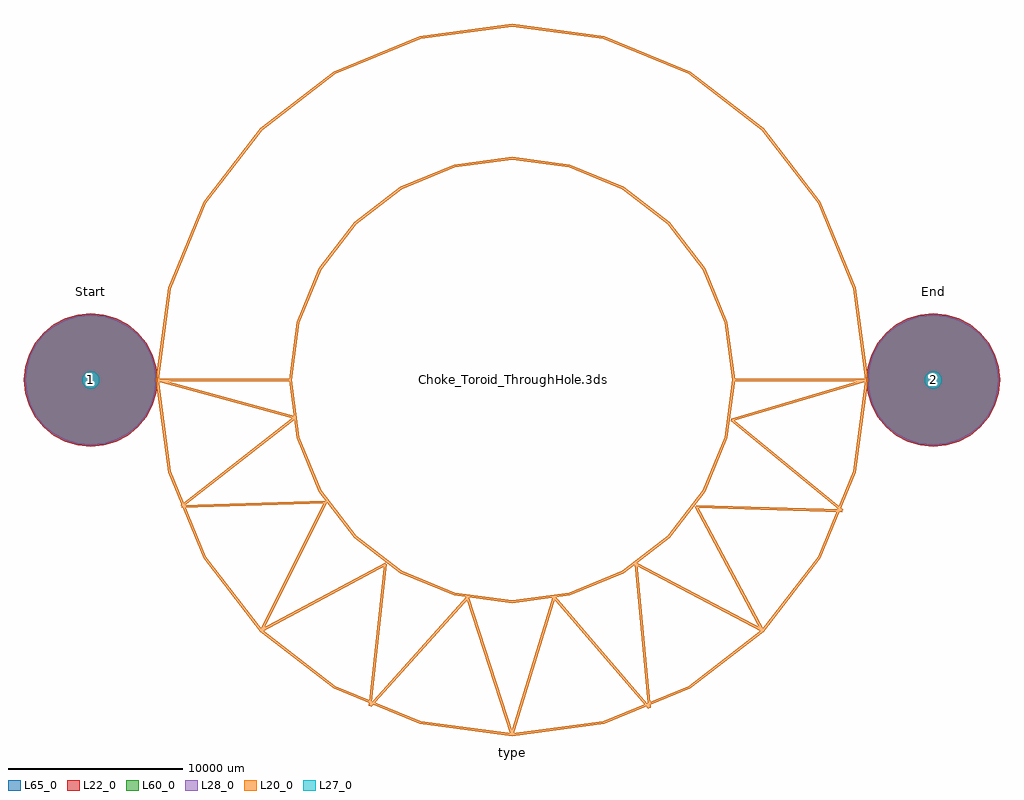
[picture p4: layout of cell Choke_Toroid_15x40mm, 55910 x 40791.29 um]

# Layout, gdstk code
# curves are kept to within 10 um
import gdstk
lib = gdstk.Library(unit=1e-6, precision=1e-09)
def P(c, l, *ps):  # polygons
    for p in ps: c.add(gdstk.Polygon(p, *l))
L20_0 = (20, 0)
L22_0 = (22, 0)
L27_0 = (27, 0)
L28_0 = (28, 0)
L60_0 = (60, 0)
L65_0 = (65, 0)

choke_toroid_15x40mm = lib.new_cell('Choke_Toroid_15x40mm')
P(choke_toroid_15x40mm, L22_0, [(27955,0),(27881.504,746.22),(27663.839,1463.764),(27310.371,2125.056),(26834.683,2704.683),(26255.056,3180.371),(25593.764,3533.839),(24876.22,3751.504),(24130,3825),(23383.78,3751.504),(22666.236,3533.839),(22004.944,3180.371),(21425.317,2704.683),(20949.629,2125.056),(20596.161,1463.764),(20378.496,746.22),(20305,0),(20378.496,-746.22),(20596.161,-1463.764),(20949.629,-2125.056),(21425.317,-2704.683),(22004.944,-3180.371),(22666.236,-3533.839),(23383.78,-3751.504),(24130,-3825),(24876.22,-3751.504),(25593.764,-3533.839),(26255.056,-3180.371),(26834.683,-2704.683),(27310.371,-2125.056),(27663.839,-1463.764),(27881.504,-746.22)],
  [(-20305,0),(-20378.496,746.22),(-20596.161,1463.764),(-20949.629,2125.056),(-21425.317,2704.683),(-22004.944,3180.371),(-22666.236,3533.839),(-23383.78,3751.504),(-24130,3825),(-24876.22,3751.504),(-25593.764,3533.839),(-26255.056,3180.371),(-26834.683,2704.683),(-27310.371,2125.056),(-27663.839,1463.764),(-27881.504,746.22),(-27955,0),(-27881.504,-746.22),(-27663.839,-1463.764),(-27310.371,-2125.056),(-26834.683,-2704.683),(-26255.056,-3180.371),(-25593.764,-3533.839),(-24876.22,-3751.504),(-24130,-3825),(-23383.78,-3751.504),(-22666.236,-3533.839),(-22004.944,-3180.371),(-21425.317,-2704.683),(-20949.629,-2125.056),(-20596.161,-1463.764),(-20378.496,-746.22)])
P(choke_toroid_15x40mm, L27_0, [(24629.999,0),(24591.939,191.341),(24483.553,353.553),(24321.341,461.939),(24130,499.999),(23938.659,461.939),(23776.447,353.553),(23668.061,191.341),(23630.001,0),(23668.061,-191.341),(23776.447,-353.553),(23938.659,-461.939),(24130,-499.999),(24321.341,-461.939),(24483.553,-353.553),(24591.939,-191.341)],
  [(-23630.001,0),(-23668.061,191.341),(-23776.447,353.553),(-23938.659,461.939),(-24130,499.999),(-24321.341,461.939),(-24483.553,353.553),(-24591.939,191.341),(-24629.999,0),(-24591.939,-191.341),(-24483.553,-353.553),(-24321.341,-461.939),(-24130,-499.999),(-23938.659,-461.939),(-23776.447,-353.553),(-23668.061,-191.341)])
P(choke_toroid_15x40mm, L28_0, [(27880,0),(27807.945,731.589),(27594.548,1435.063),(27248.011,2083.388),(26781.65,2651.65),(26213.388,3118.011),(25565.063,3464.548),(24861.589,3677.945),(24130,3750),(23398.411,3677.945),(22694.937,3464.548),(22046.612,3118.011),(21478.35,2651.65),(21011.989,2083.388),(20665.452,1435.063),(20452.055,731.589),(20380,0),(20452.055,-731.589),(20665.452,-1435.063),(21011.989,-2083.388),(21478.35,-2651.65),(22046.612,-3118.011),(22694.937,-3464.548),(23398.411,-3677.945),(24130,-3750),(24861.589,-3677.945),(25565.063,-3464.548),(26213.388,-3118.011),(26781.65,-2651.65),(27248.011,-2083.388),(27594.548,-1435.063),(27807.945,-731.589)],
  [(-20380,0),(-20452.055,731.589),(-20665.452,1435.063),(-21011.989,2083.388),(-21478.35,2651.65),(-22046.612,3118.011),(-22694.937,3464.548),(-23398.411,3677.945),(-24130,3750),(-24861.589,3677.945),(-25565.063,3464.548),(-26213.388,3118.011),(-26781.65,2651.65),(-27248.011,2083.388),(-27594.548,1435.063),(-27807.945,731.589),(-27880,0),(-27807.945,-731.589),(-27594.548,-1435.063),(-27248.011,-2083.388),(-26781.65,-2651.65),(-26213.388,-3118.011),(-25565.063,-3464.548),(-24861.589,-3677.945),(-24130,-3750),(-23398.411,-3677.945),(-22694.937,-3464.548),(-22046.612,-3118.011),(-21478.35,-2651.65),(-21011.989,-2083.388),(-20665.452,-1435.063),(-20452.055,-731.589)])
P(choke_toroid_15x40mm, L60_0, [(27880,0),(27807.945,731.589),(27594.548,1435.063),(27248.011,2083.388),(26781.65,2651.65),(26213.388,3118.011),(25565.063,3464.548),(24861.589,3677.945),(24130,3750),(23398.411,3677.945),(22694.937,3464.548),(22046.612,3118.011),(21478.35,2651.65),(21011.989,2083.388),(20665.452,1435.063),(20452.055,731.589),(20380,0),(20452.055,-731.589),(20665.452,-1435.063),(21011.989,-2083.388),(21478.35,-2651.65),(22046.612,-3118.011),(22694.937,-3464.548),(23398.411,-3677.945),(24130,-3750),(24861.589,-3677.945),(25565.063,-3464.548),(26213.388,-3118.011),(26781.65,-2651.65),(27248.011,-2083.388),(27594.548,-1435.063),(27807.945,-731.589)],
  [(-20380,0),(-20452.055,731.589),(-20665.452,1435.063),(-21011.989,2083.388),(-21478.35,2651.65),(-22046.612,3118.011),(-22694.937,3464.548),(-23398.411,3677.945),(-24130,3750),(-24861.589,3677.945),(-25565.063,3464.548),(-26213.388,3118.011),(-26781.65,2651.65),(-27248.011,2083.388),(-27594.548,1435.063),(-27807.945,731.589),(-27880,0),(-27807.945,-731.589),(-27594.548,-1435.063),(-27248.011,-2083.388),(-26781.65,-2651.65),(-26213.388,-3118.011),(-25565.063,-3464.548),(-24861.589,-3677.945),(-24130,-3750),(-23398.411,-3677.945),(-22694.937,-3464.548),(-22046.612,-3118.011),(-21478.35,-2651.65),(-21011.989,-2083.388),(-20665.452,-1435.063),(-20452.055,-731.589)])
P(choke_toroid_15x40mm, L65_0, [(27955,0),(27881.504,746.22),(27663.839,1463.764),(27310.371,2125.056),(26834.683,2704.683),(26255.056,3180.371),(25593.764,3533.839),(24876.22,3751.504),(24130,3825),(23383.78,3751.504),(22666.236,3533.839),(22004.944,3180.371),(21425.317,2704.683),(20949.629,2125.056),(20596.161,1463.764),(20378.496,746.22),(20305,0),(20378.496,-746.22),(20596.161,-1463.764),(20949.629,-2125.056),(21425.317,-2704.683),(22004.944,-3180.371),(22666.236,-3533.839),(23383.78,-3751.504),(24130,-3825),(24876.22,-3751.504),(25593.764,-3533.839),(26255.056,-3180.371),(26834.683,-2704.683),(27310.371,-2125.056),(27663.839,-1463.764),(27881.504,-746.22)],
  [(-20305,0),(-20378.496,746.22),(-20596.161,1463.764),(-20949.629,2125.056),(-21425.317,2704.683),(-22004.944,3180.371),(-22666.236,3533.839),(-23383.78,3751.504),(-24130,3825),(-24876.22,3751.504),(-25593.764,3533.839),(-26255.056,3180.371),(-26834.683,2704.683),(-27310.371,2125.056),(-27663.839,1463.764),(-27881.504,746.22),(-27955,0),(-27881.504,-746.22),(-27663.839,-1463.764),(-27310.371,-2125.056),(-26834.683,-2704.683),(-26255.056,-3180.371),(-25593.764,-3533.839),(-24876.22,-3751.504),(-24130,-3825),(-23383.78,-3751.504),(-22666.236,-3533.839),(-22004.944,-3180.371),(-21425.317,-2704.683),(-20949.629,-2125.056),(-20596.161,-1463.764),(-20378.496,-746.22)])
choke_toroid_15x40mm.add(gdstk.FlexPath([(-20320,0),(-19627.613,-5259.203),(-17597.636,-10160),(-14368.41,-14368.41),(-10160,-17597.636),(-5259.203,-19627.613),(0,-20320),(5259.203,-19627.613),(10160,-17597.636),(14368.41,-14368.41),(17597.636,-10160),(19627.613,-5259.203),(20320,0),(19627.613,5259.203),(17597.636,10160),(14368.41,14368.41),(10160,17597.636),(5259.203,19627.613),(0,20320),(-5259.203,19627.613),(-10160,17597.636),(-14368.41,14368.41),(-17597.636,10160),(-19627.613,5259.203),(-20320,0)], 149.998, ends="flush", simple_path=True, layer=20, datatype=0))  # L20_0
choke_toroid_15x40mm.add(gdstk.FlexPath([(-12700,0),(-12267.258,-3287.002),(-10998.523,-6350),(-8980.256,-8980.256),(-6350,-10998.523),(-3287.002,-12267.258),(0,-12700),(3287.002,-12267.258),(6350,-10998.523),(8980.256,-8980.256),(10998.523,-6350),(12267.258,-3287.002),(12700,0),(12267.258,3287.002),(10998.523,6350),(8980.256,8980.256),(6350,10998.523),(3287.002,12267.258),(0,12700),(-3287.002,12267.258),(-6350,10998.523),(-8980.256,8980.256),(-10998.523,6350),(-12267.258,3287.002),(-12700,0)], 149.998, ends="flush", simple_path=True, layer=20, datatype=0))  # L20_0
choke_toroid_15x40mm.add(gdstk.FlexPath([(20320,0),(12700,0)], 149.998, ends="flush", simple_path=True, layer=20, datatype=0))  # L20_0
choke_toroid_15x40mm.add(gdstk.FlexPath([(12573,-2286),(20320,0)], 149.998, ends="flush", simple_path=True, layer=20, datatype=0))  # L20_0
choke_toroid_15x40mm.add(gdstk.FlexPath([(18923,-7493),(12573,-2286)], 149.998, ends="flush", simple_path=True, layer=20, datatype=0))  # L20_0
choke_toroid_15x40mm.add(gdstk.FlexPath([(10541,-7239),(18923,-7493)], 149.998, ends="flush", simple_path=True, layer=20, datatype=0))  # L20_0
choke_toroid_15x40mm.add(gdstk.FlexPath([(14351,-14351),(10541,-7239)], 149.998, ends="flush", simple_path=True, layer=20, datatype=0))  # L20_0
choke_toroid_15x40mm.add(gdstk.FlexPath([(7112,-10541),(14351,-14351)], 149.998, ends="flush", simple_path=True, layer=20, datatype=0))  # L20_0
choke_toroid_15x40mm.add(gdstk.FlexPath([(7874,-18796),(7112,-10541)], 149.998, ends="flush", simple_path=True, layer=20, datatype=0))  # L20_0
choke_toroid_15x40mm.add(gdstk.FlexPath([(2413,-12446),(7874,-18796)], 149.998, ends="flush", simple_path=True, layer=20, datatype=0))  # L20_0
choke_toroid_15x40mm.add(gdstk.FlexPath([(0,-20320),(2413,-12446)], 149.998, ends="flush", simple_path=True, layer=20, datatype=0))  # L20_0
choke_toroid_15x40mm.add(gdstk.FlexPath([(-2540,-12446),(0,-20320)], 149.998, ends="flush", simple_path=True, layer=20, datatype=0))  # L20_0
choke_toroid_15x40mm.add(gdstk.FlexPath([(-8128,-18669),(-2540,-12446)], 149.998, ends="flush", simple_path=True, layer=20, datatype=0))  # L20_0
choke_toroid_15x40mm.add(gdstk.FlexPath([(-7239,-10541),(-8128,-18669)], 149.998, ends="flush", simple_path=True, layer=20, datatype=0))  # L20_0
choke_toroid_15x40mm.add(gdstk.FlexPath([(-14351,-14351),(-7239,-10541)], 149.998, ends="flush", simple_path=True, layer=20, datatype=0))  # L20_0
choke_toroid_15x40mm.add(gdstk.FlexPath([(-10668,-6985),(-14351,-14351)], 149.998, ends="flush", simple_path=True, layer=20, datatype=0))  # L20_0
choke_toroid_15x40mm.add(gdstk.FlexPath([(-18923,-7239),(-10668,-6985)], 149.998, ends="flush", simple_path=True, layer=20, datatype=0))  # L20_0
choke_toroid_15x40mm.add(gdstk.FlexPath([(-12446,-2159),(-18923,-7239)], 149.998, ends="flush", simple_path=True, layer=20, datatype=0))  # L20_0
choke_toroid_15x40mm.add(gdstk.FlexPath([(-20320,0),(-12446,-2159)], 149.998, ends="flush", simple_path=True, layer=20, datatype=0))  # L20_0
choke_toroid_15x40mm.add(gdstk.FlexPath([(-12700,0),(-20320,0)], 149.998, ends="flush", simple_path=True, layer=20, datatype=0))  # L20_0
choke_toroid_15x40mm.add(gdstk.Label('Choke_Toroid_ThroughHole.3dshapes/Choke_Toroid_15x40mm.wrl', (0,0), layer=12, texttype=0))
choke_toroid_15x40mm.add(gdstk.Label('2', (24130,0), layer=28, texttype=0))
choke_toroid_15x40mm.add(gdstk.Label('1', (-24130,0), layer=28, texttype=0))
choke_toroid_15x40mm.add(gdstk.Label('Start', (-24130,5080), layer=9, texttype=0))
choke_toroid_15x40mm.add(gdstk.Label('End', (24130,5080), layer=9, texttype=0))
choke_toroid_15x40mm.add(gdstk.Label('type', (0,-21590), layer=9, texttype=0))
choke_toroid_15x40mm.add(gdstk.Label('devicename', (0,0), layer=9, texttype=0))

lib.write_gds('Choke_Toroid_15x40mm.gds')
